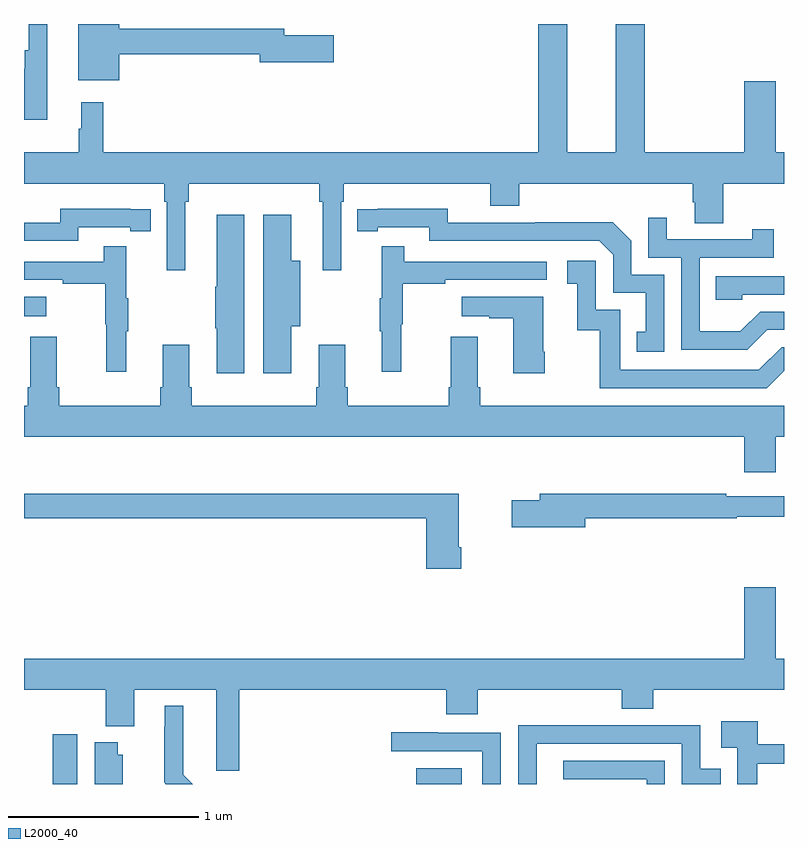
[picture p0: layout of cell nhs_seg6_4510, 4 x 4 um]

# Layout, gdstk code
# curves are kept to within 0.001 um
import gdstk
lib = gdstk.Library(unit=1e-6, precision=1e-09)
def R(c, l, rs):  # rectangles x0, y0, x1, y1
    for r in rs: c.add(gdstk.rectangle(r[:2], r[2:], *l))
def P(c, l, *ps):  # polygons
    for p in ps: c.add(gdstk.Polygon(p, *l))
L2000_40 = (2000, 40)

nhs_seg6_4510 = lib.new_cell('nhs_seg6_4510')
R(nhs_seg6_4510, L2000_40, [(377.15,953.5,377.281,953.761), (379.064,953.5,379.303,953.584), (377,955.961,377.116,956.065)])
P(nhs_seg6_4510, L2000_40, [(377.122,957.5),(377.025,957.5),(377.025,957.361),(377.005,957.361),(377.005,957.265),(377,957.265),(377,956.996),(377.122,956.996)],
  [(377.5,957.34),(378.242,957.34),(378.242,957.298),(378.631,957.298),(378.631,957.44),(378.37,957.44),(378.37,957.476),(377.5,957.476),(377.5,957.5),(377.285,957.5),(377.285,957.203),(377.5,957.203)],
  [(377.848,956.564),(377.867,956.564),(377.867,956.66),(378.553,956.66),(378.553,956.564),(378.572,956.564),(378.572,956.205),(378.669,956.205),(378.669,956.564),(378.683,956.564),(378.683,956.66),(379.454,956.66),(379.454,956.543),(379.607,956.543),(379.607,956.66),(380.519,956.66),(380.519,956.562),(380.531,956.562),(380.531,956.452),(380.679,956.452),(380.679,956.66),(381,956.66),(381,956.824),(380.956,956.824),(380.956,957.199),(380.792,957.199),(380.792,956.824),(380.267,956.824),(380.267,957.5),(380.114,957.5),(380.114,956.824),(379.858,956.824),(379.858,957.5),(379.706,957.5),(379.706,956.824),(377.417,956.824),(377.417,957.088),(377.3,957.088),(377.3,956.948),(377.289,956.948),(377.289,956.824),(377,956.824),(377,956.66),(377.738,956.66),(377.738,956.564),(377.751,956.564),(377.751,956.205),(377.848,956.205)],
  [(377.286,956.43),(377.558,956.43),(377.558,956.41),(377.666,956.41),(377.666,956.526),(377.558,956.526),(377.558,956.527),(377.19,956.527),(377.19,956.454),(377,956.454),(377,956.358),(377.286,956.358)],
  [(380.37,956.181),(380.196,956.181),(380.196,956.358),(380.098,956.456),(379.69,956.456),(379.69,956.454),(379.23,956.454),(379.23,956.527),(378.754,956.526),(378.754,956.41),(378.862,956.41),(378.862,956.43),(379.134,956.43),(379.134,956.358),(380.028,956.358),(380.1,956.286),(380.1,956.085),(380.273,956.085),(380.273,955.881),(380.224,955.881),(380.224,955.776),(380.37,955.776)],
  [(378.406,955.91),(378.454,955.91),(378.454,956.254),(378.406,956.254),(378.406,956.497),(378.26,956.497),(378.26,955.662),(378.406,955.662)],
  [(378.16,956.497),(378.014,956.497),(378.014,956.117),(378.007,956.117),(378.007,955.9),(378.014,955.9),(378.014,955.662),(378.16,955.662)],
  [(380.911,955.89),(381,955.89),(381,955.986),(380.874,955.986),(380.77,955.882),(380.556,955.882),(380.556,956.271),(380.945,956.271),(380.945,956.419),(380.834,956.419),(380.834,956.367),(380.383,956.367),(380.383,956.479),(380.286,956.479),(380.286,956.271),(380.46,956.271),(380.46,955.785),(380.806,955.785)],
  [(377.537,955.883),(377.548,955.883),(377.548,956.057),(377.537,956.057),(377.537,956.329),(377.419,956.329),(377.419,956.25),(377,956.25),(377,956.154),(377.203,956.154),(377.203,956.134),(377.427,956.134),(377.427,955.92),(377.434,955.92),(377.434,955.671),(377.537,955.671)],
  [(378.986,955.92),(378.994,955.92),(378.994,956.134),(379.217,956.134),(379.217,956.154),(379.75,956.154),(379.75,956.25),(379.001,956.25),(379.001,956.329),(378.884,956.329),(378.884,956.057),(378.873,956.057),(378.873,955.883),(378.884,955.883),(378.884,955.671),(378.986,955.671)],
  [(381,955.674),(381,955.8),(380.988,955.8),(380.868,955.68),(380.139,955.68),(380.139,955.995),(380.01,955.995),(380.01,956.254),(379.86,956.254),(379.86,956.133),(379.913,956.133),(379.913,955.887),(380.031,955.887),(380.031,955.584),(380.91,955.584)],
  [(380.781,956.076),(381,956.076),(381,956.172),(380.641,956.172),(380.641,956.049),(380.781,956.049)],
  [(379.74,955.774),(379.732,955.774),(379.732,956.065),(379.305,956.065),(379.305,955.961),(379.448,955.961),(379.448,955.951),(379.574,955.951),(379.574,955.662),(379.74,955.662)],
  [(380.956,955.328),(381,955.328),(381,955.492),(379.4,955.492),(379.4,955.588),(379.387,955.588),(379.387,955.855),(379.247,955.855),(379.247,955.588),(379.235,955.588),(379.235,955.492),(378.704,955.492),(378.704,955.588),(378.691,955.588),(378.691,955.813),(378.551,955.813),(378.551,955.588),(378.539,955.588),(378.539,955.492),(377.882,955.492),(377.882,955.588),(377.869,955.588),(377.869,955.813),(377.729,955.813),(377.729,955.588),(377.717,955.588),(377.717,955.492),(377.186,955.492),(377.186,955.588),(377.173,955.588),(377.173,955.855),(377.033,955.855),(377.033,955.588),(377.021,955.588),(377.021,955.492),(377,955.492),(377,955.328),(380.792,955.328),(380.792,955.14),(380.956,955.14)],
  [(379.954,954.898),(380.75,954.898),(380.75,954.906),(381,954.906),(381,955.014),(380.696,955.014),(380.696,955.027),(379.715,955.027),(379.715,954.993),(379.566,954.993),(379.566,954.851),(379.954,954.851)],
  [(379.301,954.745),(379.288,954.745),(379.288,955.027),(377,955.027),(377,954.898),(379.118,954.898),(379.118,954.633),(379.301,954.633)],
  [(378.134,953.996),(379.223,953.996),(379.223,953.868),(379.388,953.868),(379.388,953.996),(380.147,953.996),(380.147,953.897),(380.312,953.897),(380.312,953.996),(381,953.996),(381,954.16),(380.956,954.16),(380.956,954.535),(380.792,954.535),(380.792,954.16),(377,954.16),(377,953.996),(377.429,953.996),(377.429,953.804),(377.581,953.804),(377.581,953.996),(378.011,953.996),(378.011,953.571),(378.134,953.571)],
  [(377.839,953.548),(377.839,953.911),(377.741,953.911),(377.741,953.801),(377.737,953.801),(377.737,953.51),(377.747,953.5),(377.887,953.5)],
  [(380.86,953.606),(381,953.606),(381,953.708),(380.863,953.708),(380.863,953.83),(380.67,953.83),(380.67,953.69),(380.754,953.69),(380.754,953.594),(380.753,953.594),(380.753,953.5),(380.86,953.5)],
  [(379.698,953.712),(380.463,953.712),(380.463,953.5),(380.668,953.5),(380.668,953.58),(380.559,953.58),(380.559,953.808),(380.063,953.808),(380.063,953.81),(379.602,953.81),(379.602,953.5),(379.698,953.5)],
  [(379.509,953.769),(379.177,953.769),(379.177,953.773),(378.933,953.773),(378.933,953.673),(379.413,953.673),(379.413,953.5),(379.509,953.5)],
  [(377.521,953.655),(377.494,953.655),(377.494,953.719),(377.372,953.719),(377.372,953.5),(377.521,953.5)],
  [(380.373,953.622),(379.839,953.622),(379.839,953.526),(380.277,953.526),(380.277,953.5),(380.373,953.5)])

lib.write_gds('nhs_seg6_4510.gds')
